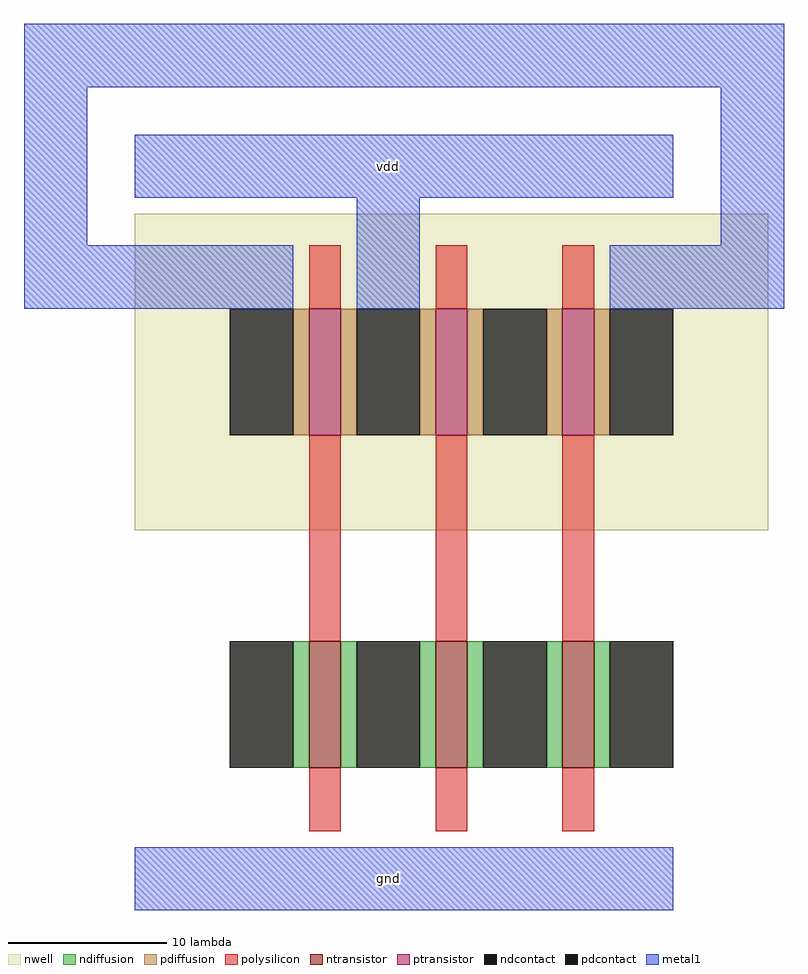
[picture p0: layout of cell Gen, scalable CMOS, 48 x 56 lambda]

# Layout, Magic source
magic
tech scmos
<< nwell >>
rect 5 25 45 45
<< ntransistor >>
rect 16 10 18 18
rect 24 10 26 18
rect 32 10 34 18
<< ptransistor >>
rect 16 31 18 39
rect 24 31 26 39
rect 32 31 34 39
<< ndiffusion >>
rect 15 10 16 18
rect 18 10 19 18
rect 23 10 24 18
rect 26 10 27 18
rect 31 10 32 18
rect 34 10 35 18
<< pdiffusion >>
rect 15 31 16 39
rect 18 31 19 39
rect 23 31 24 39
rect 26 31 27 39
rect 31 31 32 39
rect 34 31 35 39
<< ndcontact >>
rect 11 10 15 18
rect 19 10 23 18
rect 27 10 31 18
rect 35 10 39 18
<< pdcontact >>
rect 11 31 15 39
rect 19 31 23 39
rect 27 31 31 39
rect 35 31 39 39
<< polysilicon >>
rect 16 39 18 43
rect 24 39 26 43
rect 32 39 34 43
rect 16 18 18 31
rect 24 18 26 31
rect 32 18 34 31
rect 16 6 18 10
rect 24 6 26 10
rect 32 6 34 10
<< metal1 >>
rect -2 53 46 57
rect -2 43 2 53
rect 5 46 39 50
rect -2 39 15 43
rect 19 39 23 46
rect 42 43 46 53
rect 35 39 46 43
rect 5 1 39 5
<< labels >>
rlabel metal1 5 46 37 50 5 vdd
rlabel metal1 5 1 37 5 1 gnd
<< end >>
